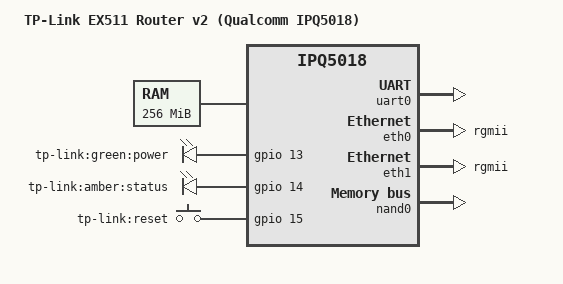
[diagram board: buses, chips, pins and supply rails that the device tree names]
/dts-v1/;

/ {
    compatible = "tplink,ex511-v2", "qcom,gcc-ipq5018";
    model = "TP-Link EX511 Router v2 (Qualcomm IPQ5018)";

    aliases {
        ethernet0 = &eth0;
        ethernet1 = &eth1;
        serial0   = &uart0;
    };

    chosen {
        bootargs = "console=ttyS0,115200 root=/dev/mtdblock3";
    };

    memory {
        device_type = "memory";
        /* DRAM starting at 0x40000000 with 256 MiB size */
        reg = <0x40000000 0x10000000>;
    };

    cpus {
        #address-cells = <1>;
        #size-cells = <0>;

        cpu@0 {
            device_type = "cpu";
            compatible = "qcom,gcc-ipq5018";
            reg = <0>;
        };
    };

    soc {
        #address-cells = <1>;
        #size-cells = <1>;
        compatible = "simple-bus";
        ranges;

        uart0: serial@8000000 {
            compatible = "qcom,ipq5018-uart";
            reg = <0x08000000 0x100>;
            clock-frequency = <1843200>;
            interrupts = <5 0 0>;  /* Example: GIC interrupt specifier */
        };

        eth0: ethernet@1e00000 {
            compatible = "qcom,ipq5018-eth";
            reg = <0x01e00000 0x1000>;
            phy-mode = "rgmii";
            interrupts = <1 0 0>;
            local-mac-address = [00 11 22 33 44 55];
        };

        eth1: ethernet@1e01000 {
            compatible = "qcom,ipq5018-eth";
            reg = <0x01e01000 0x1000>;
            phy-mode = "rgmii";
            interrupts = <2 0 0>;
            local-mac-address = [00 11 22 33 44 56];
        };

        /*
         * NAND flash node:
         * U-Boot shows a serial NAND flash of 128 MiB.
         */
        nand0: nand@1f00000 {
            compatible = "qcom,ipq-nand";
            reg = <0x01f00000 0x20000>;
            nand-flash,chip-delay = <20>;
            nand-flash,options = <0>;
            partitions {
                compatible = "fixed-partitions";
                #address-cells = <1>;
                #size-cells = <1>;

                partition@0 {
                    label = "uboot";
                    reg = <0x00000000 0x00040000>; /* 256 KB */
                };

                partition@40000 {
                    label = "uboot_env";
                    reg = <0x00040000 0x00040000>; /* 256 KB */
                };

                partition@80000 {
                    label = "kernel";
                    reg = <0x00080000 0x00400000>; /* 4 MB */
                };

                partition@480000 {
                    label = "rootfs";
                    reg = <0x00480000 0x07B80000>; /* Remaining flash */
                };
            };
        };

        gpio: gpio@10000000 {
            compatible = "qcom,ipq5018-gpio";
            reg = <0x10000000 0x1000>;
        };

        /* RTL8367S switch node from U-Boot log */
        switch: switch@1e02000 {
            compatible = "realtek,rtl8367s";
            reg = <0x01e02000 0x1000>;
        };

        intc: interrupt-controller@4a800000 {
            compatible = "arm,gic-400";
            reg = <0x4a800000 0x10000>;
            #interrupt-cells = <3>;
        };
    };

    leds {
        compatible = "gpio-leds";

        power_led {
            label = "tp-link:green:power";
            gpios = <&gpio 13 0>; /* Adjust GPIO number as needed */
            default-state = "on";
        };

        status_led {
            label = "tp-link:amber:status";
            gpios = <&gpio 14 0>; /* Adjust GPIO number as needed */
            default-state = "off";
        };
    };

    buttons {
        compatible = "gpio-keys";

        reset {
            label = "tp-link:reset";
            gpios = <&gpio 15 0>; /* Adjust GPIO number as needed */
            linux,code = <KEY_RESTART>;
        };
    };
};
